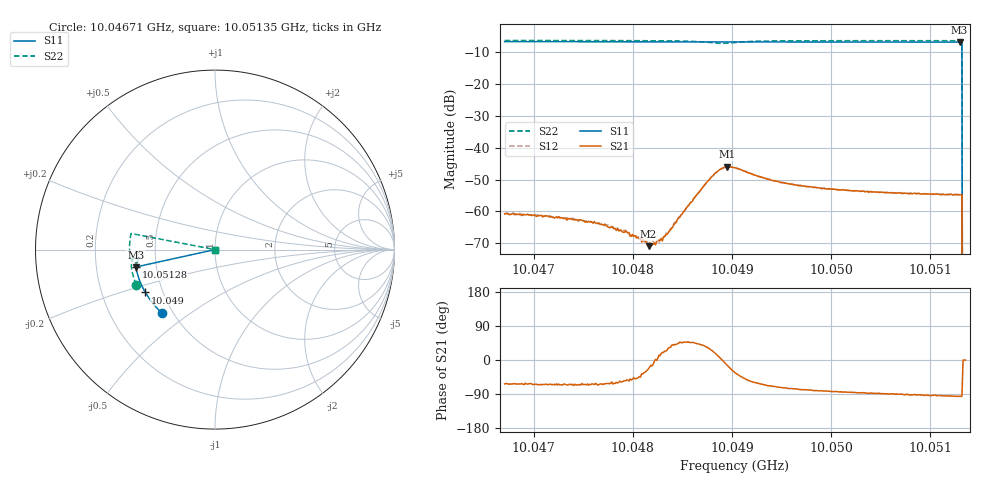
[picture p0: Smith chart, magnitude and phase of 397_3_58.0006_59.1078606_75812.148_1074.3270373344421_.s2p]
#  HZ  S  RI  R  50.00
! Rohde & Schwarz Vector Network Analyzer
! Rohde-Schwarz,ZNB20-2Port,1311601062101988,3.16
! Created: UTC 3/21/2024, 1:08:06 AM
! freq[Hz]  re:S11  im:S11  re:S21  im:S21  re:S12  im:S12  re:S22  im:S22
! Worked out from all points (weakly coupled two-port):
!   401 points, 10.04671 GHz to 10.05135 GHz, reference 50 ohm
!   highest |S21| = -45.99 dB at 10.04895 GHz (marker M1); lowest = -70.9 dB at 10.04816 GHz (marker M2)
!   lowest |S11| = -6.9 dB at 10.0513 GHz (marker M3), VSWR 2.65, Z = 19.1 - j4.71 ohm
!   |S11| at or under -10 dB: 10.05132 GHz to end of sweep
!   |S22| runs from - to -6.4 dB; largest |S21 - S12| = 0.00037
!   S11 on the Smith chart (normalised r, x): 10.04671 GHz: 0.44, -0.39; 10.049 GHz: 0.40, -0.24; 10.05128 GHz: 0.38, -0.09; 10.05135 GHz: 1.00, +0.00
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1.0046706e10  -0.2933 -0.3548  0.000416 -0.000818  0.000497 -0.000783  -0.438 -0.1972
1.004702e10  -0.3084 -0.3406  0.000376 -0.000765  0.000441 -0.000782  -0.4459 -0.1775
1.0047485e10  -0.3299 -0.3186  0.000342 -0.000642  0.000353 -0.000649  -0.4558 -0.1472
1.0047764e10  -0.3419 -0.3049  0.000255 -0.000492  0.000284 -0.000501  -0.4605 -0.1283
1.0047938e10  -0.3491 -0.2958  0.000288 -0.00038  0.000277 -0.000356  -0.463 -0.1156
1.0048159e10  -0.358 -0.2844  0.000264 -0.00011  0.000311 -0.000126  -0.4654 -0.0993
1.0048205e10  -0.3598 -0.2819  0.0003 -5.96e-05  0.000338 -3.75e-05  -0.4656 -0.0957
1.0048263e10  -0.362 -0.2786  0.000348 7.78e-05  0.000322 5.36e-05  -0.4659 -0.0911
1.0048321e10  -0.3643 -0.2756  0.000372 0.000159  0.000374 0.000143  -0.466 -0.0861
1.0048368e10  -0.3661 -0.2732  0.000414 0.000266  0.0004 0.000286  -0.4659 -0.0821
1.0048484e10  -0.3704 -0.2669  0.000604 0.000633  0.000579 0.000653  -0.4648 -0.0715
1.0048775e10  -0.3805 -0.2506  0.0028 0.00157  0.00271 0.00175  -0.4444 -0.0467
1.0048868e10  -0.3836 -0.2455  0.00438 0.000658  0.00434 0.000915  -0.4312 -0.0516
1.0048949e10  -0.3861 -0.2411  0.00488 -0.00116  0.00498 -0.000842  -0.4296 -0.0647
1.0048995e10  -0.3879 -0.2386  0.00448 -0.00214  0.00464 -0.00183  -0.4345 -0.0705
1.004903e10  -0.3889 -0.2366  0.00404 -0.00267  0.00423 -0.00241  -0.4399 -0.0726
1.004939e10  -0.4006 -0.2158  0.00115 -0.00289  0.0013 -0.00285  -0.4698 -0.0476
1.0049809e10  -0.4121 -0.1909  0.000425 -0.00236  0.000561 -0.00235  -0.4758 -0.0139
1.0050587e10  -0.4299 -0.1432  2.66e-05 -0.00196  0.00011 -0.00199  -0.4749 0.041
1.0051284e10  -0.4412 -0.0989  -0.000198 -0.00183  -7.65e-05 -0.00184  -0.4682 0.0875
1.0051296e10  -0.4413 -0.0982  -0.000178 -0.00182  -9.27e-05 -0.00183  -0.4681 0.0885
1.0051354e10  0 0  0 0  0 0  0 0
